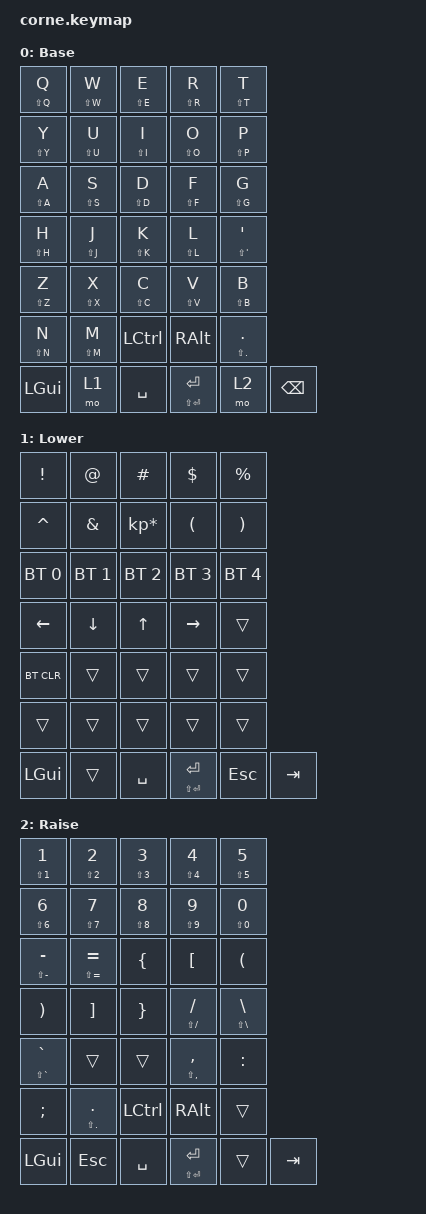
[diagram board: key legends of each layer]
/*
 * Copyright (c) 2020 The ZMK Contributors
 *
 * SPDX-License-Identifier: MIT
 */

#include <behaviors.dtsi>
#include <dt-bindings/zmk/keys.h>
#include <dt-bindings/zmk/bt.h>

/* 
 * FIX 1: The #define macro has been removed to satisfy the Keymap Editor.
 * All instances below have been expanded manually to: &as LS(KEY) KEY
 */

/ {
    chosen {
        zmk,physical-layout = &foostan_corne_5col_layout;
        /* FIX 2: Added matrix-transform so the Keymap Editor draws 5 columns correctly */
        zmk,matrix-transform = &five_column_transform;
    };

    behaviors {
        as: auto_shift {
            compatible = "zmk,behavior-hold-tap";
            #binding-cells = <2>;
            tapping-term-ms = <200>;
            quick_tap_ms = <0>;
            flavor = "tap-preferred";
            bindings = <&kp>, <&kp>;
        };
    };

    keymap {
        compatible = "zmk,keymap";

        default_layer {
            display-name = "Base";
            bindings = <
                /* Left Hand */
                &as LS(Q) Q   &as LS(W) W   &as LS(E) E   &as LS(R) R   &as LS(T) T
                /* Right Hand */
                &as LS(Y) Y   &as LS(U) U   &as LS(I) I   &as LS(O) O   &as LS(P) P

                &as LS(A) A   &as LS(S) S   &as LS(D) D   &as LS(F) F   &as LS(G) G
                &as LS(H) H   &as LS(J) J   &as LS(K) K   &as LS(L) L   &as LS(SQT) SQT

                &as LS(Z) Z   &as LS(X) X   &as LS(C) C   &as LS(V) V   &as LS(B) B
                &as LS(N) N   &as LS(M) M   &kp LCTL      &kp RALT      &as LS(DOT) DOT

                /* Thumb Cluster */
                &kp LGUI      &mo 1         &kp SPACE     &as LS(RET) RET   &mo 2         &kp BSPC
            >;
        };

        lower_layer {
            display-name = "Lower";
            bindings = <
                &kp EXCL      &kp AT        &kp HASH      &kp DLLR      &kp PRCNT
                &kp CARET     &kp AMPS      &kp KP_MULTIPLY &kp LPAR    &kp RPAR

                &bt BT_SEL 0  &bt BT_SEL 1  &bt BT_SEL 2  &bt BT_SEL 3  &bt BT_SEL 4
                &kp LEFT      &kp DOWN      &kp UP        &kp RIGHT     &trans

                &bt BT_CLR    &trans        &trans        &trans        &trans
                &trans        &trans        &trans        &trans        &trans

                &kp LGUI      &trans        &kp SPACE     &as LS(RET) RET &kp ESC       &kp TAB
            >;
        };

        raise_layer {
            display-name = "Raise";
            bindings = <
                &as LS(N1) N1     &as LS(N2) N2     &as LS(N3) N3     &as LS(N4) N4     &as LS(N5) N5
                &as LS(N6) N6     &as LS(N7) N7     &as LS(N8) N8     &as LS(N9) N9     &as LS(N0) N0

                &as LS(MINUS) MINUS &as LS(EQUAL) EQUAL &kp LBRC        &kp LBKT        &kp LPAR
                &kp RPAR        &kp RBKT        &kp RBRC        &as LS(FSLH) FSLH &as LS(BSLH) BSLH

                &as LS(GRAVE) GRAVE &trans          &trans          &as LS(COMMA) COMMA &kp COLON
                &kp SEMI        &as LS(DOT) DOT &kp LCTRL       &kp RALT        &trans

                &kp LGUI      &kp ESC       &kp SPACE     &as LS(RET) RET &trans        &kp TAB
            >;
        };

        extra_1 { status = "reserved"; };
        extra_2 { status = "reserved"; };
        extra_3 { status = "reserved"; };
    };
};   
